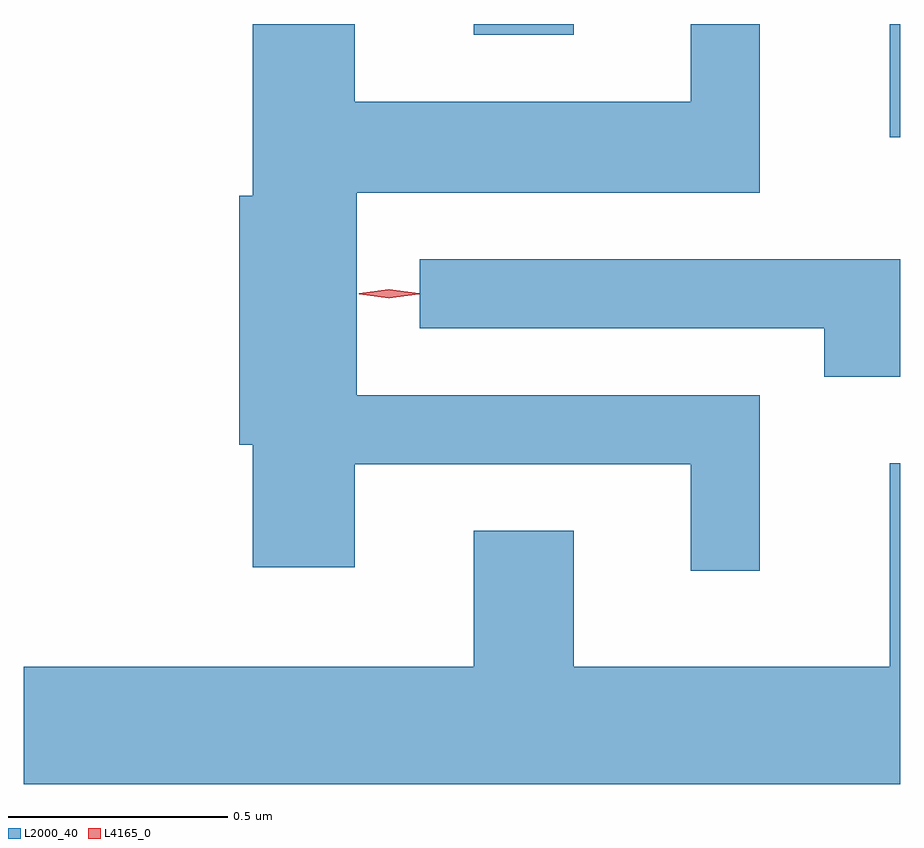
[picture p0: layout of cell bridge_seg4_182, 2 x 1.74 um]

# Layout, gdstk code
import gdstk
lib = gdstk.Library(unit=1e-6, precision=1e-09)
def R(c, l, rs):  # rectangles x0, y0, x1, y1
    for r in rs: c.add(gdstk.rectangle(r[:2], r[2:], *l))
def P(c, l, *ps):  # polygons
    for p in ps: c.add(gdstk.Polygon(p, *l))
L2000_40 = (2000, 40)
L4165_0 = (4165, 0)

bridge_seg4_182 = lib.new_cell('bridge_seg4_182')
R(bridge_seg4_182, L2000_40, [(1065.161,1260.693,1065.184,1260.951), (1064.211,1260.926,1064.439,1260.951)])
P(bridge_seg4_182, L2000_40, [(1064.864,1260.104),(1063.944,1260.104),(1063.944,1260.566),(1064.864,1260.566),(1064.864,1260.951),(1064.706,1260.951),(1064.706,1260.774),(1063.939,1260.774),(1063.939,1260.951),(1063.706,1260.951),(1063.706,1260.559),(1063.676,1260.559),(1063.676,1259.991),(1063.706,1259.991),(1063.706,1259.711),(1063.939,1259.711),(1063.939,1259.946),(1064.706,1259.946),(1064.706,1259.703),(1064.864,1259.703)],
  [(1065.184,1260.414),(1064.088,1260.414),(1064.088,1260.256),(1065.011,1260.256),(1065.011,1260.146),(1065.184,1260.146)],
  [(1065.184,1259.948),(1065.161,1259.948),(1065.161,1259.484),(1064.439,1259.484),(1064.439,1259.794),(1064.211,1259.794),(1064.211,1259.484),(1063.184,1259.484),(1063.184,1259.216),(1065.184,1259.216)])
P(bridge_seg4_182, L4165_0, [(1064.018,1260.325),(1063.953,1260.334),(1063.953,1260.335),(1063.953,1260.336),(1064.018,1260.345),(1064.082,1260.336),(1064.083,1260.335),(1064.082,1260.334)],
  [(1064.017,1260.325),(1063.949,1260.334),(1063.948,1260.335),(1063.949,1260.336),(1064.017,1260.345),(1064.086,1260.336),(1064.086,1260.335),(1064.086,1260.334)])

lib.write_gds('bridge_seg4_182.gds')
